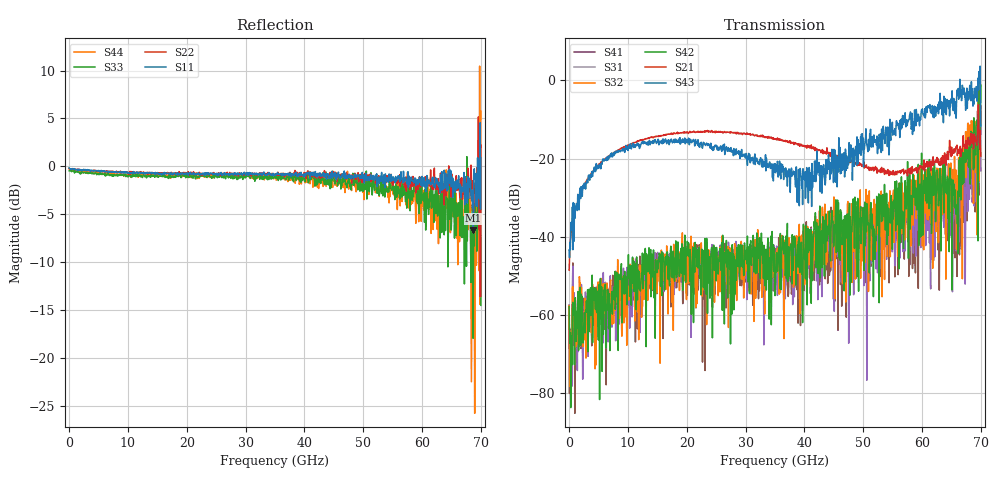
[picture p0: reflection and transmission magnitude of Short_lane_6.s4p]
!Pstart = -2.000000E+001
!Pstop = -1.000000E+001
!Pstep = 2.564103E-001
! 4/30/2026 12:42:32 PM
! C:\ANRITSUVNA\TEMP\TEMP.S4P
! CHANNEL.1
! TR.MEASUREMENT
! CORRECTED.DATA
! RF.CORRECTION: FULL.FOUR.PORT.CAL.PORT.1.2.3.4
! AVERAGING.OFF
! IF.BANDWIDTH: 100HZ
! SWEEPTYPE:  FREQ.SWEEP(Linear)
! Reference Plane Port Info
! DISTANCE:  0  m  0  m  0  m  0  m
! TIME:  0  s  0  s  0  s  0  s
! PHASE.OFFSET:  0 °  0 °  0 °  0 °
! LOSS:  0  dB  0  dB  0  dB  0  dB
! REF.LOSS:  0  dB  0  dB  0  dB  0  dB
! REF.FREQ:  0  Hz  0  Hz  0  Hz  0  Hz
! Power Info
! POWER:  -20  dBm  -20  dBm  -20  dBm  -20  dBm
! EFF.POWER:  -20  dBm  -20  dBm  -40  dBm  -40  dBm
! SOURCE.ATTEN:  0  dB  0  dB  20  dB  20  dB
! TEST.ATTEN:  0  dB  0  dB  20  dB  20  dB
! Created with skrf 1.9.0 (http://scikit-rf.org).
# Hz S RI R 50.0
!freq ReS11 ImS11 ReS12 ImS12 ReS13 ImS13
! ReS14 ImS14
! ReS21 ImS21 ReS22 ImS22 ReS23 ImS23
! ReS24 ImS24
! ReS31 ImS31 ReS32 ImS32 ReS33 ImS33
! ReS34 ImS34
! ReS41 ImS41 ReS42 ImS42 ReS43 ImS43
! ReS44 ImS44
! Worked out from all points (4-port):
!   1001 points, 10 MHz to 70 GHz, reference 50 ohm
!   strongest paths, dB at 10 MHz, 17.51 GHz, 35.01 GHz, 52.5 GHz, 70 GHz:
!     S43: -43.4, -15.6, -21.3, -14.7, -11.7
!     S21: -48.6, -13.8, -15.1, -23.0, -19.4
!     S42: -57.9, -45.6, -55.1, -36.6, -1.2
!     S32: -57.7, -56.9, -44.2, -30.9, -11.1
!     S31: -57.5, -47.7, -45.1, -39.7, -23.2
!     S41: -60.4, -46.4, -48.1, -42.4, -6.5
!   lowest |S11| = -6.7 dB at 68.74 GHz (marker M1), VSWR 2.73, Z = 130 + j26.7 ohm
!   |S11| at or under -10 dB: nowhere
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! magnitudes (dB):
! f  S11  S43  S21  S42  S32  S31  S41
! 10 MHz  -0.2  -43.4  -48.6  -57.9  -57.7  -57.5  -60.4
! 3.02 GHz  -0.4  -25.7  -25.6  -58.4  -59.0  -61.9  -57.3
! 11.91 GHz  -0.6  -16.9  -15.4  -49.0  -53.9  -48.0  -54.3
! 40.88 GHz  -0.6  -23.0  -17.1  -42.3  -43.7  -39.3  -50.5
! 65.87 GHz  -2.4  -4.8  -17.1  -32.0  -43.4  -26.1  -43.7
! 68.74 GHz  -6.7  -5.4  -17.5  -22.9  -31.5  -31.5  -25.0
! 70 GHz  0.9  -11.7  -19.4  -1.2  -11.1  -23.2  -6.5
